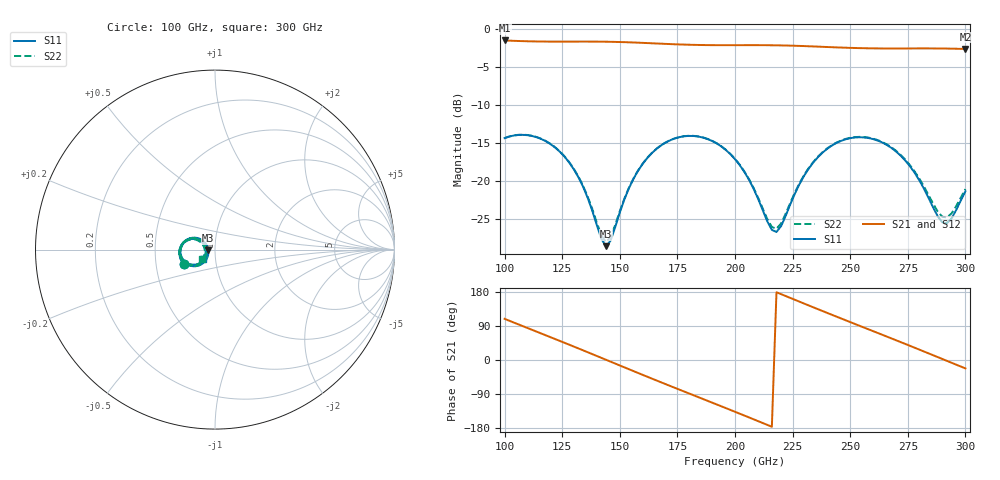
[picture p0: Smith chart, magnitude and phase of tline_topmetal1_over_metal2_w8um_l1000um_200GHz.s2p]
#  GHZ S DB R 50
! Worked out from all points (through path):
!   101 points, 100 GHz to 300 GHz, reference 50 ohm
!   highest |S21| = -1.55 dB at 100 GHz (marker M1); lowest = -2.7 dB at 300 GHz (marker M2)
!   group delay of S21, straight-line fit = 6.82 ps
!   lowest |S11| = -28.6 dB at 144 GHz (marker M3), VSWR 1.08, Z = 46.4 - j0.287 ohm
!   |S11| at or under -10 dB: start of sweep to end of sweep
!   |S22| runs from -28.1 to -14.0 dB; largest |S21 - S12| = 1.4e-13
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100  -14.41 -155.8  -1.55 108.5  -1.55 108.5  -14.39 -155.3
108  -13.98 -172.5  -1.65 89.1  -1.65 89.1  -13.95 -171.8
116  -14.53 171.2  -1.70 69.7  -1.70 69.7  -14.50 172.1
126  -16.85 152.7  -1.71 45.4  -1.71 45.4  -16.79 153.9
134  -20.76 143.5  -1.70 25.6  -1.70 25.6  -20.64 145.2
144  -28.62 -175.2  -1.72 0.6  -1.72 0.6  -28.07 -174.9
156  -19.72 -131.7  -1.82 -29.4  -1.82 -29.4  -19.67 -132.2
168  -15.35 -149.5  -1.98 -59.1  -1.98 -59.1  -15.33 -149.4
176  -14.27 -164.6  -2.08 -78.5  -2.08 -78.5  -14.25 -164.2
184  -14.20 -180.0  -2.15 -97.8  -2.15 -97.8  -14.18 -179.3
200  -17.17 152.6  -2.18 -136.6  -2.18 -136.6  -17.13 153.9
210  -22.37 148.5  -2.17 -161.3  -2.17 -161.3  -22.22 150.4
218  -26.76 -171.0  -2.20 178.8  -2.20 178.8  -26.34 -170.4
226  -21.71 -137.6  -2.25 158.9  -2.25 158.9  -21.55 -138.0
234  -17.61 -141.3  -2.34 139.0  -2.34 139.0  -17.53 -141.2
250  -14.41 -167.3  -2.53 100.1  -2.53 100.1  -14.36 -166.5
258  -14.40 178.3  -2.59 80.8  -2.59 80.8  -14.34 179.4
268  -15.72 161.5  -2.61 56.7  -2.61 56.7  -15.64 163.1
280  -19.95 149.4  -2.60 27.4  -2.60 27.4  -19.73 151.9
290  -25.49 175.9  -2.61 2.7  -2.61 2.7  -24.75 177.2
294  -24.97 -159.3  -2.63 -7.3  -2.63 -7.3  -24.31 -160.6
300  -21.40 -142.3  -2.68 -22.2  -2.68 -22.2  -21.11 -144.2
